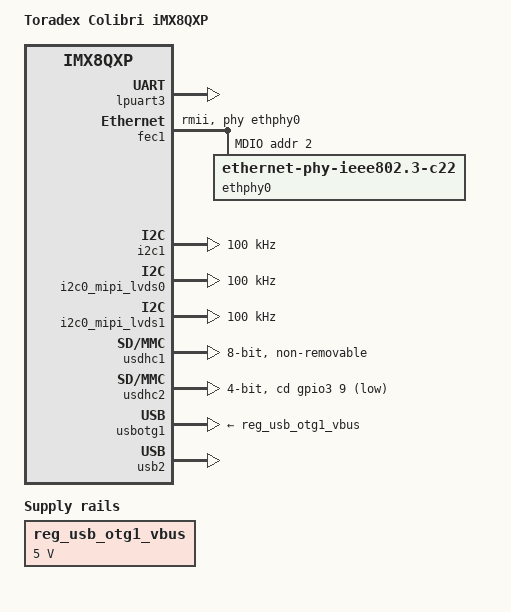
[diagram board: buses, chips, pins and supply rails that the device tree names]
// SPDX-License-Identifier: GPL-2.0+ OR X11
/*
 * Copyright 2018-2019 Toradex
 */

/dts-v1/;

/* First 128KB is for PSCI ATF. */
/* Last 127M is for M4/RPMSG */
/memreserve/ 0x80000000 0x08000000;

#include "fsl-imx8qxp.dtsi"

/ {
	model = "Toradex Colibri iMX8QXP";
	compatible = "toradex,colibri-imx8qxp", "fsl,imx8qxp";

	chosen {
		bootargs = "console=ttyLP3,115200 earlycon=lpuart32,0x5a090000,115200";
		stdout-path = &lpuart3;
	};

	regulators {
		compatible = "simple-bus";
		#address-cells = <1>;
		#size-cells = <0>;

#if 0
		reg_usdhc2_vmmc: usdhc2_vmmc {
			compatible = "regulator-fixed";
			regulator-name = "SD1_SPWR";
			regulator-min-microvolt = <3000000>;
			regulator-max-microvolt = <3000000>;
			gpio = <&gpio4 19 GPIO_ACTIVE_HIGH>;
			enable-active-high;
			startup-delay-us = <100>;
			off-on-delay-us = <12000>;
		};
#endif
		reg_usb_otg1_vbus: regulator@0 {
			compatible = "regulator-fixed";
			reg = <0>;
			regulator-name = "usb_otg1_vbus";
			regulator-min-microvolt = <5000000>;
			regulator-max-microvolt = <5000000>;
			enable-active-high;
		};

	};

};

&iomuxc {
	pinctrl-names = "default";
	pinctrl-0 = <&pinctrl_hog1>, <&pinctrl_hog2>;

	colibri-imx8qxp {
		pinctrl_lpuart0: lpuart0grp {
			fsl,pins = <
				SC_P_UART0_RX_ADMA_UART0_RX	0x06000020
				SC_P_UART0_TX_ADMA_UART0_TX	0x06000020
			>;
		};

		pinctrl_lpuart3: lpuart3grp {
			fsl,pins = <
				SC_P_FLEXCAN2_RX_ADMA_UART3_RX	0x06000020
				SC_P_FLEXCAN2_TX_ADMA_UART3_TX	0x06000020
			>;
		};

		pinctrl_lpuart3_ctrl: lpuart3ctrlgrp {
			fsl,pins = <
				SC_P_MIPI_DSI1_GPIO0_01_LSIO_GPIO2_IO00 0x00000020 /* DTR */
				SC_P_SAI1_RXD_LSIO_GPIO0_IO29		0x00000020 /* CTS */
				SC_P_SAI1_RXC_LSIO_GPIO0_IO30		0x00000020 /* RTS */
				SC_P_CSI_RESET_LSIO_GPIO3_IO03		0x00000020 /* DSR */
				SC_P_USDHC1_CD_B_LSIO_GPIO4_IO22	0x00000020 /* DCD */
				SC_P_CSI_EN_LSIO_GPIO3_IO02		0x00000020 /* RI */
			>;
		};

		pinctrl_fec1: fec1grp {
			fsl,pins = <
				SC_P_COMP_CTL_GPIO_1V8_3V3_ENET_ENETB0_PAD      0x000014a0
				SC_P_COMP_CTL_GPIO_1V8_3V3_ENET_ENETB1_PAD      0x000014a0
				SC_P_ENET0_MDC_CONN_ENET0_MDC			0x06000020
				SC_P_ENET0_MDIO_CONN_ENET0_MDIO			0x06000020
				SC_P_ENET0_RGMII_TX_CTL_CONN_ENET0_RGMII_TX_CTL 0x00000061
				SC_P_ENET0_RGMII_TXC_CONN_ENET0_RCLK50M_OUT	0x06000061
				SC_P_ENET0_RGMII_TXD0_CONN_ENET0_RGMII_TXD0	0x00000061
				SC_P_ENET0_RGMII_TXD1_CONN_ENET0_RGMII_TXD1	0x00000061
				SC_P_ENET0_RGMII_RX_CTL_CONN_ENET0_RGMII_RX_CTL	0x00000061
				SC_P_ENET0_RGMII_RXD0_CONN_ENET0_RGMII_RXD0	0x00000061
				SC_P_ENET0_RGMII_RXD1_CONN_ENET0_RGMII_RXD1	0x00000061
				SC_P_ENET0_RGMII_RXD2_CONN_ENET0_RMII_RX_ER	0x00000061
			>;
		};

		pinctrl_hog1: hog1grp {
			fsl,pins = <
				SC_P_QSPI0A_DATA1_LSIO_GPIO3_IO10	0x00000020 /*  45 */
				SC_P_ENET0_RGMII_TXD3_LSIO_GPIO5_IO02	0x06000020 /*  65 */
					SC_P_CSI_D07_CI_PI_D09		0x00000061
				SC_P_QSPI0A_DATA2_LSIO_GPIO3_IO11	0x00000020 /*  69 */
				SC_P_QSPI0A_DQS_LSIO_GPIO3_IO13		0x00000020 /*  73 */
				SC_P_SAI0_TXC_LSIO_GPIO0_IO26		0x00000020 /*  79 */
					SC_P_CSI_D02_CI_PI_D04		0x00000061
				SC_P_ENET0_RGMII_RXC_LSIO_GPIO5_IO03	0x06000020 /*  85 */
					SC_P_CSI_D06_CI_PI_D08		0x00000061
				SC_P_QSPI0B_SCLK_LSIO_GPIO3_IO17	0x00000020 /*  95 */
				SC_P_SAI0_RXD_LSIO_GPIO0_IO27		0x00000020 /*  97 */
					SC_P_CSI_D03_CI_PI_D05		0x00000061
				SC_P_QSPI0B_DATA0_LSIO_GPIO3_IO18	0x00000020 /*  99 */
				SC_P_SAI0_TXFS_LSIO_GPIO0_IO28		0x00000020 /* 101 */
					SC_P_CSI_D00_CI_PI_D02          0x00000061
				SC_P_SAI0_TXD_LSIO_GPIO0_IO25		0x00000020 /* 103 */
					SC_P_CSI_D01_CI_PI_D03          0x00000061
				SC_P_QSPI0B_DATA1_LSIO_GPIO3_IO19	0x00000020 /* 105 */
				SC_P_QSPI0B_DATA2_LSIO_GPIO3_IO20	0x00000020 /* 107 */
				SC_P_USB_SS3_TC2_LSIO_GPIO4_IO05	0x00000020 /* 127 */
				SC_P_USB_SS3_TC3_LSIO_GPIO4_IO06	0x00000020 /* 131 */
				SC_P_USB_SS3_TC1_LSIO_GPIO4_IO04	0x00000020 /* 133 */
				SC_P_CSI_PCLK_LSIO_GPIO3_IO00		0x00000020 /*  96 */
				SC_P_QSPI0B_DATA3_LSIO_GPIO3_IO21	0x00000020 /*  98 */
				SC_P_SAI1_RXFS_LSIO_GPIO0_IO31		0x00000020 /* 100 */
				SC_P_QSPI0B_DQS_LSIO_GPIO3_IO22		0x00000020 /* 102 */
				SC_P_QSPI0B_SS0_B_LSIO_GPIO3_IO23	0x00000020 /* 104 */
				SC_P_QSPI0B_SS1_B_LSIO_GPIO3_IO24	0x00000020 /* 106 */
			>;
		};

		pinctrl_hog2: hog2grp {
			fsl,pins = <
				SC_P_CSI_MCLK_LSIO_GPIO3_IO01		0x00000020 /*  75 */
				SC_P_QSPI0A_SS0_B_LSIO_GPIO3_IO14	0x00000020 /*  77 */
				SC_P_QSPI0A_SS1_B_LSIO_GPIO3_IO15	0x00000020 /*  89 */
				SC_P_QSPI0A_SCLK_LSIO_GPIO3_IO16	0x00000020 /*  93 */
			>;
		};


		pinctrl_lpi2c1: lpi1cgrp {
			fsl,pins = <
				SC_P_MIPI_DSI0_GPIO0_00_ADMA_I2C1_SCL	0x06000020
				SC_P_MIPI_DSI0_GPIO0_01_ADMA_I2C1_SDA	0x06000020
			>;
		};

		pinctrl_usdhc1: usdhc1grp {
			fsl,pins = <
				SC_P_EMMC0_CLK_CONN_EMMC0_CLK		0x06000041
				SC_P_EMMC0_CMD_CONN_EMMC0_CMD		0x00000021
				SC_P_EMMC0_DATA0_CONN_EMMC0_DATA0	0x00000021
				SC_P_EMMC0_DATA1_CONN_EMMC0_DATA1	0x00000021
				SC_P_EMMC0_DATA2_CONN_EMMC0_DATA2	0x00000021
				SC_P_EMMC0_DATA3_CONN_EMMC0_DATA3	0x00000021
				SC_P_EMMC0_DATA4_CONN_EMMC0_DATA4	0x00000021
				SC_P_EMMC0_DATA5_CONN_EMMC0_DATA5	0x00000021
				SC_P_EMMC0_DATA6_CONN_EMMC0_DATA6	0x00000021
				SC_P_EMMC0_DATA7_CONN_EMMC0_DATA7	0x00000021
				SC_P_EMMC0_STROBE_CONN_EMMC0_STROBE	0x00000041
				SC_P_EMMC0_RESET_B_CONN_EMMC0_RESET_B	0x00000021
			>;
		};

		pinctrl_usdhc1_100mhz: usdhc1grp100mhz {
			fsl,pins = <
				SC_P_EMMC0_CLK_CONN_EMMC0_CLK		0x06000041
				SC_P_EMMC0_CMD_CONN_EMMC0_CMD		0x00000021
				SC_P_EMMC0_DATA0_CONN_EMMC0_DATA0	0x00000021
				SC_P_EMMC0_DATA1_CONN_EMMC0_DATA1	0x00000021
				SC_P_EMMC0_DATA2_CONN_EMMC0_DATA2	0x00000021
				SC_P_EMMC0_DATA3_CONN_EMMC0_DATA3	0x00000021
				SC_P_EMMC0_DATA4_CONN_EMMC0_DATA4	0x00000021
				SC_P_EMMC0_DATA5_CONN_EMMC0_DATA5	0x00000021
				SC_P_EMMC0_DATA6_CONN_EMMC0_DATA6	0x00000021
				SC_P_EMMC0_DATA7_CONN_EMMC0_DATA7	0x00000021
				SC_P_EMMC0_STROBE_CONN_EMMC0_STROBE	0x00000041
				SC_P_EMMC0_RESET_B_CONN_EMMC0_RESET_B	0x00000021
			>;
		};

		pinctrl_usdhc1_200mhz: usdhc1grp200mhz {
			fsl,pins = <
				SC_P_EMMC0_CLK_CONN_EMMC0_CLK		0x06000041
				SC_P_EMMC0_CMD_CONN_EMMC0_CMD		0x00000021
				SC_P_EMMC0_DATA0_CONN_EMMC0_DATA0	0x00000021
				SC_P_EMMC0_DATA1_CONN_EMMC0_DATA1	0x00000021
				SC_P_EMMC0_DATA2_CONN_EMMC0_DATA2	0x00000021
				SC_P_EMMC0_DATA3_CONN_EMMC0_DATA3	0x00000021
				SC_P_EMMC0_DATA4_CONN_EMMC0_DATA4	0x00000021
				SC_P_EMMC0_DATA5_CONN_EMMC0_DATA5	0x00000021
				SC_P_EMMC0_DATA6_CONN_EMMC0_DATA6	0x00000021
				SC_P_EMMC0_DATA7_CONN_EMMC0_DATA7	0x00000021
				SC_P_EMMC0_STROBE_CONN_EMMC0_STROBE	0x00000041
				SC_P_EMMC0_RESET_B_CONN_EMMC0_RESET_B	0x00000021
			>;
		};

		pinctrl_usdhc2_gpio: usdhc2gpiogrp {
			fsl,pins = <
				SC_P_QSPI0A_DATA0_LSIO_GPIO3_IO09	0x06000021
			>;
		};

		pinctrl_usdhc2: usdhc2grp {
			fsl,pins = <
				SC_P_USDHC1_CLK_CONN_USDHC1_CLK		0x06000041
				SC_P_USDHC1_CMD_CONN_USDHC1_CMD		0x00000021
				SC_P_USDHC1_DATA0_CONN_USDHC1_DATA0	0x00000021
				SC_P_USDHC1_DATA1_CONN_USDHC1_DATA1	0x00000021
				SC_P_USDHC1_DATA2_CONN_USDHC1_DATA2	0x00000021
				SC_P_USDHC1_DATA3_CONN_USDHC1_DATA3	0x00000021
				SC_P_USDHC1_VSELECT_CONN_USDHC1_VSELECT	0x00000021
			>;
		};

		pinctrl_usdhc2_100mhz: usdhc2grp100mhz {
			fsl,pins = <
				SC_P_USDHC1_CLK_CONN_USDHC1_CLK		0x06000041
				SC_P_USDHC1_CMD_CONN_USDHC1_CMD		0x00000021
				SC_P_USDHC1_DATA0_CONN_USDHC1_DATA0	0x00000021
				SC_P_USDHC1_DATA1_CONN_USDHC1_DATA1	0x00000021
				SC_P_USDHC1_DATA2_CONN_USDHC1_DATA2	0x00000021
				SC_P_USDHC1_DATA3_CONN_USDHC1_DATA3	0x00000021
				SC_P_USDHC1_VSELECT_CONN_USDHC1_VSELECT	0x00000021
			>;
		};

		pinctrl_usdhc2_200mhz: usdhc2grp200mhz {
			fsl,pins = <
				SC_P_USDHC1_CLK_CONN_USDHC1_CLK		0x06000041
				SC_P_USDHC1_CMD_CONN_USDHC1_CMD		0x00000021
				SC_P_USDHC1_DATA0_CONN_USDHC1_DATA0	0x00000021
				SC_P_USDHC1_DATA1_CONN_USDHC1_DATA1	0x00000021
				SC_P_USDHC1_DATA2_CONN_USDHC1_DATA2	0x00000021
				SC_P_USDHC1_DATA3_CONN_USDHC1_DATA3	0x00000021
				SC_P_USDHC1_VSELECT_CONN_USDHC1_VSELECT	0x00000021
			>;
		};
#if 0
		pinctrl_flexspi0: flexspi0grp {
			fsl,pins = <
				SC_P_QSPI0A_DATA0_LSIO_QSPI0A_DATA0	0x0600004c
				SC_P_QSPI0A_DATA1_LSIO_QSPI0A_DATA1	0x0600004c
				SC_P_QSPI0A_DATA2_LSIO_QSPI0A_DATA2	0x0600004c
				SC_P_QSPI0A_DATA3_LSIO_QSPI0A_DATA3	0x0600004c
				SC_P_QSPI0A_DQS_LSIO_QSPI0A_DQS		0x0600004c
				SC_P_QSPI0A_SS0_B_LSIO_QSPI0A_SS0_B	0x0600004c
				SC_P_QSPI0A_SS1_B_LSIO_QSPI0A_SS1_B	0x0600004c
				SC_P_QSPI0A_SCLK_LSIO_QSPI0A_SCLK	0x0600004c
				SC_P_QSPI0B_SCLK_LSIO_QSPI0B_SCLK	0x0600004c
				SC_P_QSPI0B_DATA0_LSIO_QSPI0B_DATA0	0x0600004c
				SC_P_QSPI0B_DATA1_LSIO_QSPI0B_DATA1	0x0600004c
				SC_P_QSPI0B_DATA2_LSIO_QSPI0B_DATA2	0x0600004c
				SC_P_QSPI0B_DATA3_LSIO_QSPI0B_DATA3	0x0600004c
				SC_P_QSPI0B_DQS_LSIO_QSPI0B_DQS		0x0600004c
				SC_P_QSPI0B_SS0_B_LSIO_QSPI0B_SS0_B	0x0600004c
				SC_P_QSPI0B_SS1_B_LSIO_QSPI0B_SS1_B	0x0600004c
			>;
		};
#endif
		pinctrl_i2c0_mipi_lvds0: mipi_lvds0_i2c0_grp {
			fsl,pins = <
				SC_P_MIPI_DSI0_I2C0_SCL_MIPI_DSI0_I2C0_SCL 0xc6000020
				SC_P_MIPI_DSI0_I2C0_SDA_MIPI_DSI0_I2C0_SDA 0xc6000020
			>;
		};

		pinctrl_i2c0_mipi_csi: mipi_csi_i2c0_grp {
			fsl,pins = <
				SC_P_MIPI_DSI1_I2C0_SCL_MIPI_DSI1_I2C0_SCL 0xc6000020
				SC_P_MIPI_DSI1_I2C0_SDA_MIPI_DSI1_I2C0_SDA 0xc6000020
			>;
		};
	};
};

&lpuart0 {
	pinctrl-names = "default";
	pinctrl-0 = <&pinctrl_lpuart0>;
	status = "disabled";
};

&lpuart3 {
	pinctrl-names = "default";
	pinctrl-0 = <&pinctrl_lpuart3>, <&pinctrl_lpuart3_ctrl>;
	status = "okay";
};

&gpio0 {
	status = "okay";
};

&gpio1 {
	status = "okay";
};

&gpio3 {
	status = "okay";
};

&gpio4 {
	status = "okay";
};

&fec1 {
	pinctrl-names = "default";
	pinctrl-0 = <&pinctrl_fec1>;
	phy-mode = "rmii";
	phy-handle = <&ethphy0>;
//TODO	fsl,magic-packet;
	status = "okay";

	mdio {
		#address-cells = <1>;
		#size-cells = <0>;

		ethphy0: ethernet-phy@2 {
			compatible = "ethernet-phy-ieee802.3-c22";
			max-speed = <100>;
			reg = <2>;
		};
	};
};
#if 0
&flexspi0 {
	pinctrl-names = "default";
	pinctrl-0 = <&pinctrl_flexspi0>;
	status = "okay";

	flash0: mt35xu512aba@0 {
		reg = <0>;
		#address-cells = <1>;
		#size-cells = <1>;
		compatible = "spi-flash";
		spi-max-frequency = <29000000>;
		spi-nor,ddr-quad-read-dummy = <8>;
	};
};
#endif

&i2c1 {
	#address-cells = <1>;
	#size-cells = <0>;
	clock-frequency = <100000>;
	pinctrl-names = "default";
	pinctrl-0 = <&pinctrl_lpi2c1>;
	status = "okay";
};

&i2c0_mipi_lvds0 {
	#address-cells = <1>;
	#size-cells = <0>;
	pinctrl-names = "default";
	pinctrl-0 = <&pinctrl_i2c0_mipi_lvds0>;
	clock-frequency = <100000>;
	status = "okay";
};

&i2c0_mipi_lvds1 {
	#address-cells = <1>;
	#size-cells = <0>;
	pinctrl-names = "default";
	pinctrl-0 = <&pinctrl_i2c0_mipi_csi>;
	clock-frequency = <100000>;
	status = "okay";
};

&usdhc1 {
	pinctrl-names = "default", "state_100mhz", "state_200mhz";
	pinctrl-0 = <&pinctrl_usdhc1>;
	pinctrl-1 = <&pinctrl_usdhc1_100mhz>;
	pinctrl-2 = <&pinctrl_usdhc1_200mhz>;
	bus-width = <8>;
	non-removable;
	status = "okay";
};

&usdhc2 {
	pinctrl-names = "default", "state_100mhz", "state_200mhz";
	pinctrl-0 = <&pinctrl_usdhc2>, <&pinctrl_usdhc2_gpio>;
	pinctrl-1 = <&pinctrl_usdhc2_100mhz>, <&pinctrl_usdhc2_gpio>;
	pinctrl-2 = <&pinctrl_usdhc2_200mhz>, <&pinctrl_usdhc2_gpio>;
	bus-width = <4>;
	cd-gpios = <&gpio3 9 GPIO_ACTIVE_LOW>;
/*	vmmc-supply = <&reg_usdhc2_vmmc>; */
	status = "okay";
};

&usbotg1 {
	vbus-supply = <&reg_usb_otg1_vbus>;
	srp-disable;
	hnp-disable;
	adp-disable;
	power-polarity-active-high;
	disable-over-current;
	status = "okay";
};

&usb2 {
	status = "okay";
};
